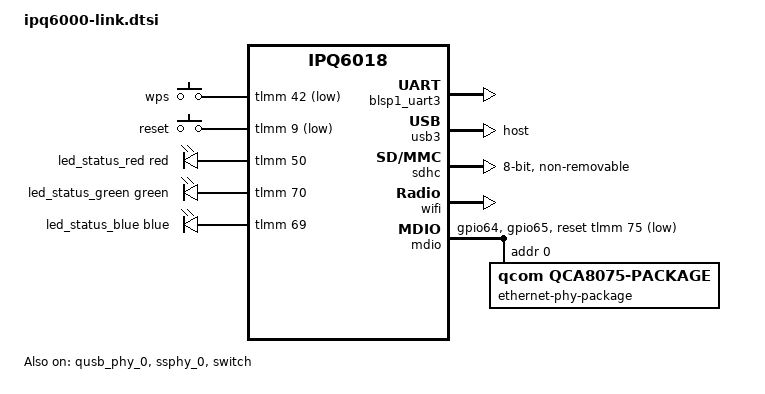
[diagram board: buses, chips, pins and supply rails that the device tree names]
// SPDX-License-Identifier: GPL-2.0-or-later OR MIT

#include "ipq6018-512m.dtsi"
#include "ipq6018-ess.dtsi"

#include <dt-bindings/gpio/gpio.h>
#include <dt-bindings/input/input.h>
#include <dt-bindings/leds/common.h>

/ {
	aliases {
		serial0 = &blsp1_uart3;
		led-boot = &led_status_red;
		led-failsafe = &led_status_red;
		led-running = &led_status_green;
		led-upgrade = &led_status_red;
	};

	chosen {
		stdout-path = "serial0:115200n8";
	};

	keys {
		compatible = "gpio-keys";

		wps {
			label = "wps";
			linux,code = <KEY_WPS_BUTTON>;
			gpios = <&tlmm 42 GPIO_ACTIVE_LOW>;
		};

		reset {
			label = "reset";
			linux,code = <KEY_RESTART>;
			gpios = <&tlmm 9 GPIO_ACTIVE_LOW>;
		};
	};

	leds {
		/* Single RGB led controlled via GPIO.
		To mimic the OEM default behaviour red are switched on from boot */
		compatible = "gpio-leds";

		led_status_red: status-red {
			gpios = <&tlmm 50 GPIO_ACTIVE_HIGH>;
			color = <LED_COLOR_ID_RED>;
			function = LED_FUNCTION_STATUS;
			default-state = "on";
		};

		led_status_green: status-green {
			gpios = <&tlmm 70 GPIO_ACTIVE_HIGH>;
			color = <LED_COLOR_ID_GREEN>;
			function = LED_FUNCTION_STATUS;
		};

		led_status_blue: status-blue {
			gpios = <&tlmm 69 GPIO_ACTIVE_HIGH>;
			color = <LED_COLOR_ID_BLUE>;
			function = LED_FUNCTION_STATUS;
		};
	};
};

&tlmm {
	gpio-reserved-ranges = <20 1>;

	mdio_pins: mdio-pins {
		mdc {
			pins = "gpio64";
			function = "mdc";
			drive-strength = <8>;
			bias-pull-up;
		};

		mdio {
			pins = "gpio65";
			function = "mdio";
			drive-strength = <8>;
			bias-pull-up;
		};
	};
};

&blsp1_uart3 {
	status = "okay";
	pinctrl-0 = <&serial_3_pins>;
	pinctrl-names = "default";
};

&qusb_phy_0 {
	status = "okay";
};

&ssphy_0 {
	status = "okay";
};

&usb3 {
	dr_mode = "host";
	status = "okay";
};

&rpm {
	status = "disabled";
};

&sdhc {
	bus-width = <8>;
	mmc-ddr-1_8v;
	mmc-hs200-1_8v;
	non-removable;
	status = "okay";
};

&wifi {
	status = "okay";
	qcom,ath11k-fw-memory-mode = <1>;
	qcom,ath11k-calibration-variant = "Link-NN6000";
};

&mdio {
	status = "okay";
	pinctrl-0 = <&mdio_pins>;
	pinctrl-names = "default";
	reset-gpios = <&tlmm 75 GPIO_ACTIVE_LOW>;

	ethernet-phy-package@0 {
		compatible = "qcom,qca8075-package";
		#address-cells = <1>;
		#size-cells = <0>;
		reg = <0>;

		qca8075_0: ethernet-phy@0 {
			compatible = "ethernet-phy-ieee802.3-c22";
			reg = <0>;
		};

		qca8075_1: ethernet-phy@1 {
			compatible = "ethernet-phy-ieee802.3-c22";
			reg = <1>;
		};

		qca8075_2: ethernet-phy@2 {
			compatible = "ethernet-phy-ieee802.3-c22";
			reg = <2>;
		};

		qca8075_3: ethernet-phy@3 {
			compatible = "ethernet-phy-ieee802.3-c22";
			reg = <3>;
		};

		qca8075_4: ethernet-phy@4 {
			compatible = "ethernet-phy-ieee802.3-c22";
			reg = <4>;
		};
	};
};

&switch {
	status = "okay";
	switch_mac_mode = <MAC_MODE_PSGMII>;

	qcom,port_phyinfo {
		port@1 {
			port_id = <1>;
			phy_address = <0>;
		};
		port@2 {
			port_id = <2>;
			phy_address = <1>;
		};
		port@3 {
			port_id = <3>;
			phy_address = <2>;
		};
		port@4 {
			port_id = <4>;
			phy_address = <3>;
		};
		port@5 {
			port_id = <5>;
			phy_address = <4>;
		};
	};
};

&edma {
	status = "okay";
};
